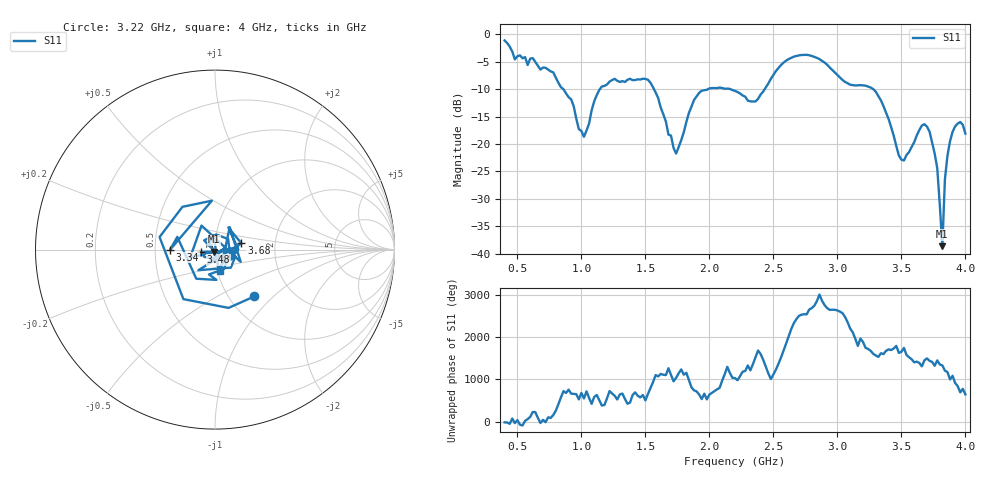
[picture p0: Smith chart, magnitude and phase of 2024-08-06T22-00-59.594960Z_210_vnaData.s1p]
!Created with skrf (http://scikit-rf.org).
# Hz S RI R 50.0
!freq ReS11 ImS11
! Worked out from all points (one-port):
!   181 points, 400 MHz to 4 GHz, reference 50 ohm
!   lowest |S11| = -38.6 dB at 3.82 GHz (marker M1), VSWR 1.02, Z = 49.6 - j1.11 ohm
!   |S11| at or under -10 dB: 859.3 MHz to 1.144 GHz (284.8 MHz wide, 28.4 % of centre); 1.567 GHz to 1.989 GHz (422.1 MHz wide, 23.7 % of centre); 3.281 GHz to end of sweep (the widest 3 of 4)
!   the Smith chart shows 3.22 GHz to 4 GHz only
!   S11 on the Smith chart (normalised r, x): 3.22 GHz: 1.30, -0.77; 3.34 GHz: 0.60, +0.00; 3.48 GHz: 0.86, -0.02; 3.68 GHz: 1.34, +0.10; 4 GHz: 1.03, -0.25
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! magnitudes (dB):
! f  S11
! 400 MHz  -1.1
! 480 MHz  -4.6
! 620 MHz  -4.3
! 860 MHz  -10.0
! 1.02 GHz  -18.7
! 1.14 GHz  -10.1
! 1.3 GHz  -8.7
! 1.52 GHz  -8.3
! 1.72 GHz  -20.7
! 1.76 GHz  -20.6
! 1.92 GHz  -10.7
! 2.2 GHz  -10.3
! 2.36 GHz  -12.2
! 2.66 GHz  -4.1
! 2.86 GHz  -4.5
! 3.1 GHz  -9.2
! 3.22 GHz  -9.4
! 3.34 GHz  -12.0
! 3.48 GHz  -22.1
! 3.56 GHz  -21.5
! 3.68 GHz  -16.4
! 3.72 GHz  -17.7
! 3.78 GHz  -24.4
! 3.82 GHz  -38.6
! 3.84 GHz  -26.4
! 3.88 GHz  -19.5
! 3.96 GHz  -16.0
! 4 GHz  -18.1
